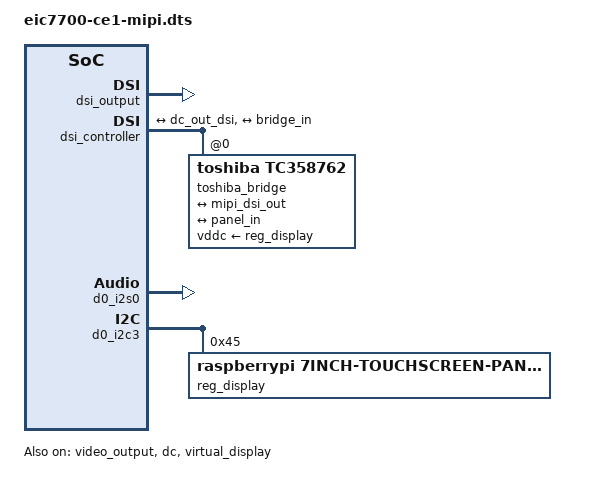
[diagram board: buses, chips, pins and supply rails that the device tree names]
// SPDX-License-Identifier: GPL-2.0
/*
 * Device Tree file for Eswin EIC7700 SoC.
 *
 * Copyright 2024, Beijing ESWIN Computing Technology Co., Ltd.. All rights reserved.
 * SPDX-License-Identifier: GPL-2.0
 *
 * This program is free software: you can redistribute it and/or modify
 * it under the terms of the GNU General Public License as published by
 * the Free Software Foundation, version 2.
 *
 * This program is distributed in the hope that it will be useful,
 * but WITHOUT ANY WARRANTY; without even the implied warranty of
 * MERCHANTABILITY or FITNESS FOR A PARTICULAR PURPOSE.  See the
 * GNU General Public License for more details.
 *
 * You should have received a copy of the GNU General Public License
 * along with this program.  If not, see <https://www.gnu.org/licenses/>.
 */

/dts-v1/;

#include "eic7700-ce1.dtsi"
/* Clock frequency (in Hz) of the PCB crystal for rtcclk */

&video_output {
	status = "okay";
	power-supply = <&reg_display>;
};

&dc {
	status = "okay";
	dc_out: port {
		#address-cells = <1>;
		#size-cells = <0>;
		dc_out_dsi: endpoint@0 {
			reg = <0>;
			remote-endpoint = <&dsi_input>;
		};
		dc_out_dpi1: endpoint@1 {
			reg = <1>;
			remote-endpoint = <&vd_input>;
		};
	};
};

&virtual_display {
	status = "okay";
	port {
		vd_input: endpoint {
			remote-endpoint = <&dc_out_dpi1>;
		};
	};
};

&dsi_output {
	status = "okay";
};

&dw_hdmi {
	status = "disabled";
};

&dsi_controller {
	status = "okay";
	dependencies = <&reg_display>;
	dependencies = <&rasp_panel>;
	dependencies = <&toshiba_bridge>;

	dsi-fpc-fir-gpio = <&porta 5 GPIO_ACTIVE_HIGH>;
    dsi-fpc-sec-gpio = <&portd 15 GPIO_ACTIVE_HIGH>;

	ports {
		#address-cells = <1>;
		#size-cells = <0>;
		port@0 {
			#address-cells = <1>;
			#size-cells = <0>;
			reg = <0>;
			dsi_input: endpoint {
				remote-endpoint = <&dc_out_dsi>;
			};
		};

		port@1 {
			#address-cells = <1>;
			#size-cells = <0>;
			reg = <1>;
			mipi_dsi_out: endpoint {
				remote-endpoint = <&bridge_in>;
			};
		};
	};

	toshiba_bridge: bridge@0 {
		reg = <0>;
		compatible = "toshiba,tc358762";
		status = "okay";
		vddc-supply = <&reg_display>;
		ports {
			#address-cells = <1>;
			#size-cells = <0>;

			port@0 {
				reg = <0>;
				bridge_in: endpoint {
					remote-endpoint = <&mipi_dsi_out>;
				};
			};

			port@1 {
				reg = <1>;
				bridge_out: endpoint {
					remote-endpoint = <&panel_in>;
				};
			};
		};
	};

};

&rasp_panel {
        status = "okay";
        backlight = <&reg_display>;
        power-supply = <&reg_display>;

        port {
                panel_in: endpoint {
                        remote-endpoint = <&bridge_out>;
                };
        };
};

&d0_i2s0 {
	status = "okay";
	d0_i2s0_port: port {
		d0_i2s0_endpoint: endpoint {
			dai-format = "i2s";
		};
	};
};

&d0_i2c3 {
	/* mipi csi0/csi1 & mipi dsi fpc? */
	status = "okay";
    reg_display: regulator@45 {
        status = "okay";
        compatible = "raspberrypi,7inch-touchscreen-panel-regulator";
        reg = <0x45>;
        gpio-controller;
        #gpio-cells = <2>;
	};
};
